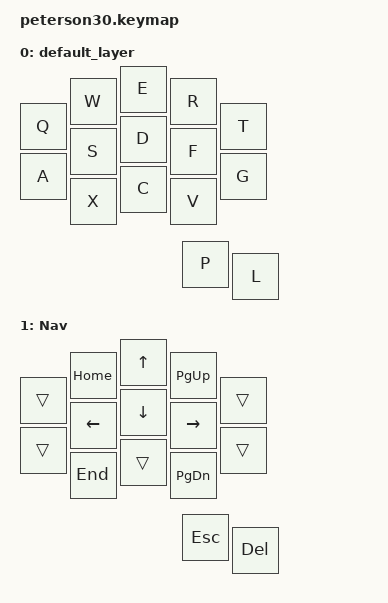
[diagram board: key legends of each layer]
/*
 * Copyright (c) 2022 The ZMK Contributors
 *
 * SPDX-License-Identifier: MIT
 */

#include <behaviors.dtsi>
#include <dt-bindings/zmk/keys.h>

#define DEF_L 0
#define NAV_L 1

// Using layer taps on thumbs, having quick tap as well helps w/ repeating space/backspace
&lt { quick-tap-ms = <200>; };

/ {
    behaviors {
        hm: homerow_mods {
            compatible = "zmk,behavior-hold-tap";
            #binding-cells = <2>;
            tapping-term-ms = <225>;
            flavor = "tap-preferred";
            bindings = <&kp>, <&kp>;
        };
    };

    keymap {
        compatible = "zmk,keymap";

        default_layer {
            bindings = <
                &kp Q   &kp W   &kp E   &kp R   &kp T
                &kp A   &kp S   &kp D   &kp F   &kp G
                        &kp X   &kp C   &kp V
                                        &kp P  &kp L
            >;
        };

        nav_layer {
            display-name = "Nav";
            bindings = <
                &trans           &kp HOME       &kp UP &kp PG_UP  &trans
                &trans           &kp LEFT       &kp DOWN &kp RIGHT   &trans
                           &kp END        &trans   &kp PG_DN
                           &kp ESC          &kp DEL
            >;
        };
    };
};
